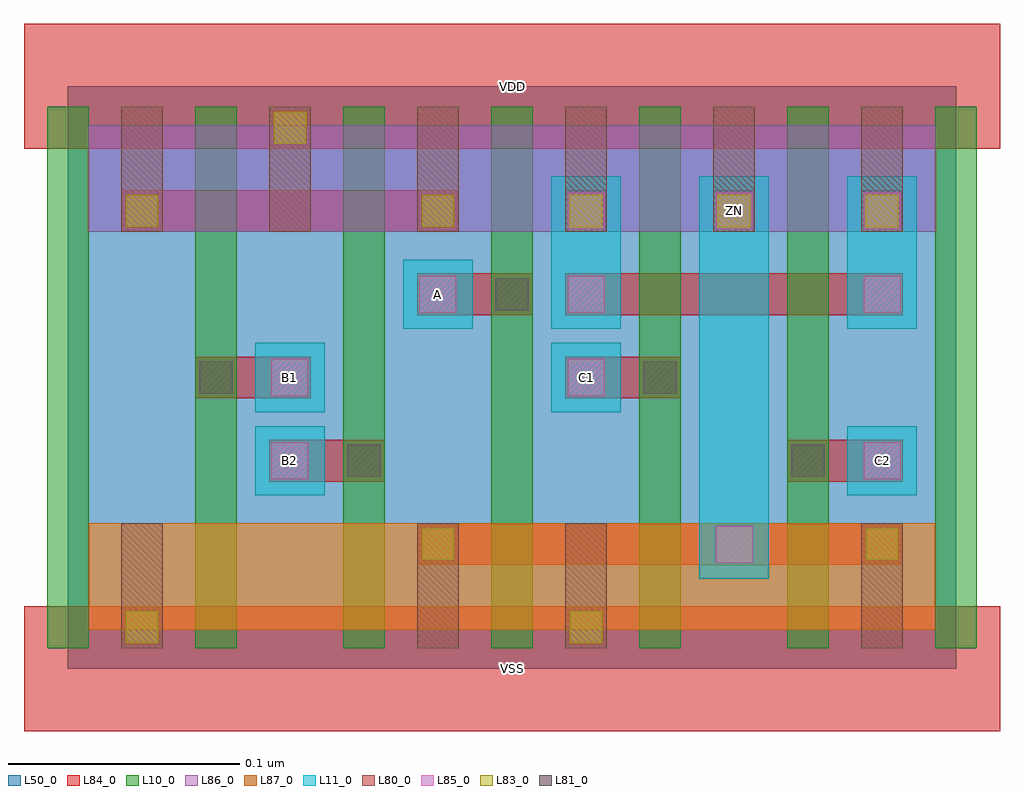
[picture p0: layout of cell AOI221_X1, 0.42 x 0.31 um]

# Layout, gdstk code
import gdstk
lib = gdstk.Library(unit=1e-6, precision=1e-09)
def R(c, l, rs):  # rectangles x0, y0, x1, y1
    for r in rs: c.add(gdstk.rectangle(r[:2], r[2:], *l))
def A(c, l, x, y, w, h, nx, ny, dx, dy):  # array of equal rectangles
    R(c, l, [(x+i*dx, y+j*dy, x+i*dx+w, y+j*dy+h) for i in range(nx) for j in range(ny)])
L10_0 = (10, 0)
L11_0 = (11, 0)
L50_0 = (50, 0)
L80_0 = (80, 0)
L81_0 = (81, 0)
L83_0 = (83, 0)
L84_0 = (84, 0)
L85_0 = (85, 0)
L86_0 = (86, 0)
L87_0 = (87, 0)

aoi221_x1 = lib.new_cell('AOI221_X1')
A(aoi221_x1, L10_0, -0.009, 0.009, 0.018, 0.234, 7, 1, 0.064, 0)
R(aoi221_x1, L11_0, [(0.273,0.039,0.303,0.213), (0.081,0.075,0.111,0.105), (0.337,0.075,0.367,0.105), (0.081,0.111,0.111,0.141), (0.209,0.111,0.239,0.141), (0.145,0.147,0.175,0.177), (0.209,0.147,0.239,0.213), (0.337,0.147,0.367,0.213)])
R(aoi221_x1, L50_0, [(0,0,0.384,0.252)])
A(aoi221_x1, L80_0, 0.023, 0.189, 0.018, 0.054, 6, 1, 0.064, 0)
R(aoi221_x1, L80_0, [(0.023,0.009,0.041,0.063), (0.151,0.009,0.169,0.063), (0.215,0.009,0.233,0.063), (0.343,0.009,0.361,0.063)])
R(aoi221_x1, L81_0, [(0.121,0.083,0.135,0.097), (0.313,0.083,0.327,0.097), (0.057,0.119,0.071,0.133), (0.249,0.119,0.263,0.133), (0.185,0.155,0.199,0.169)])
A(aoi221_x1, L83_0, 0.153, 0.191, 0.014, 0.014, 4, 1, 0.064, 0)
R(aoi221_x1, L83_0, [(0.025,0.011,0.039,0.025), (0.217,0.011,0.231,0.025), (0.153,0.047,0.167,0.061), (0.345,0.047,0.359,0.061), (0.025,0.191,0.039,0.205), (0.089,0.227,0.103,0.241)])
A(aoi221_x1, L84_0, 0.215, 0.189, 0.018, 0.018, 3, 1, 0.064, 0)
R(aoi221_x1, L84_0, [(-0.019,-0.027,0.403,0.027), (0.151,0.045,0.361,0.063), (0.087,0.081,0.137,0.099), (0.311,0.081,0.361,0.099), (0.055,0.117,0.105,0.135), (0.215,0.117,0.265,0.135), (0.151,0.153,0.201,0.171), (0.215,0.153,0.361,0.171), (0.023,0.189,0.169,0.207), (-0.019,0.225,0.403,0.279)])
A(aoi221_x1, L85_0, 0.216, 0.19, 0.016, 0.016, 3, 1, 0.064, 0)
R(aoi221_x1, L85_0, [(0.28,0.046,0.296,0.062), (0.088,0.082,0.104,0.098), (0.344,0.082,0.36,0.098), (0.088,0.118,0.104,0.134), (0.216,0.118,0.232,0.134), (0.152,0.154,0.168,0.17), (0.216,0.154,0.232,0.17), (0.344,0.154,0.36,0.17)])
R(aoi221_x1, L86_0, [(0.009,0.189,0.375,0.235)])
R(aoi221_x1, L87_0, [(0.009,0.017,0.375,0.063)])
aoi221_x1.add(gdstk.Label('VDD', (0.192,0.252), layer=88, texttype=0))
aoi221_x1.add(gdstk.Label('VSS', (0.192,0), layer=88, texttype=0))
aoi221_x1.add(gdstk.Label('ZN', (0.288,0.198), layer=31, texttype=0))
aoi221_x1.add(gdstk.Label('C1', (0.224,0.126), layer=31, texttype=0))
aoi221_x1.add(gdstk.Label('B2', (0.096,0.09), layer=31, texttype=0))
aoi221_x1.add(gdstk.Label('A', (0.16,0.162), layer=31, texttype=0))
aoi221_x1.add(gdstk.Label('B1', (0.096,0.126), layer=31, texttype=0))
aoi221_x1.add(gdstk.Label('C2', (0.352,0.09), layer=31, texttype=0))

lib.write_gds('AOI221_X1.gds')
